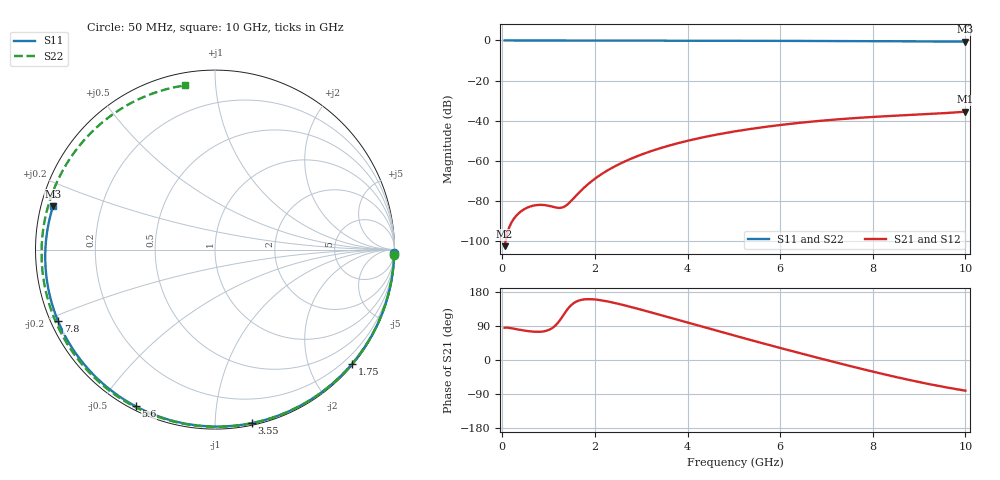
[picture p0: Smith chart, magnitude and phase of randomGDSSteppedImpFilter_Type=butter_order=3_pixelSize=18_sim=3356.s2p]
! freq	dB(S11)	phase(S11)	dB(S12)	phase(S12)
!  dB(S21)	phase(S21)	dB(S22)	phase(S22)
!S-par simulation data
#  GHz  S  DB  R 50
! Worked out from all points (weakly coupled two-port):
!   200 points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, 50 MHz to 10 GHz, reference 50 ohm
!   highest |S21| = -35.47 dB at 10 GHz (marker M1); lowest = -102.4 dB at 50 MHz (marker M2)
!   lowest |S11| = -0.6 dB at 10 GHz (marker M3), VSWR 29.29, Z = 1.74 + j6.61 ohm
!   |S11| at or under -10 dB: nowhere
!   |S22| runs from -0.6 to 0.0 dB; largest |S21 - S12| = 0
!   S11 on the Smith chart (normalised r, x): 50 MHz: open; 1.75 GHz: 0.02, -2.75; 3.55 GHz: 0.01, -1.24; 5.6 GHz: 0.01, -0.61; 7.8 GHz: 0.02, -0.22; 10 GHz: 0.03, +0.13
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0.05  -0.00 -1.1  -102.44 85.2  -102.44 85.2  -0.01 -1.6
0.35  -0.01 -8.1  -86.14 80.3  -86.14 80.3  -0.02 -11.6
0.7  -0.02 -16.2  -82.13 74.5  -82.13 74.5  -0.03 -23.1
1.05  -0.03 -24.2  -82.58 82.1  -82.58 82.1  -0.04 -34.5
1.45  -0.04 -33.2  -80.78 140.1  -80.78 140.1  -0.06 -47.1
1.5  -0.04 -34.3  -79.60 146.1  -79.60 146.1  -0.06 -48.7
1.75  -0.05 -39.9  -73.67 159.6  -73.67 159.6  -0.07 -56.4
2.05  -0.06 -46.5  -68.02 159.0  -68.02 159.0  -0.08 -65.4
2.45  -0.07 -55.1  -62.46 149.8  -62.46 149.8  -0.09 -77.0
2.9  -0.08 -64.6  -57.76 136.0  -57.76 136.0  -0.11 -89.6
3.4  -0.10 -74.9  -53.73 119.3  -53.73 119.3  -0.13 -102.9
3.55  -0.10 -77.9  -52.70 114.2  -52.70 114.2  -0.13 -106.8
4.3  -0.13 -92.7  -48.41 88.5  -48.41 88.5  -0.16 -125.5
5.05  -0.16 -106.8  -45.19 63.1  -45.19 63.1  -0.20 -143.3
5.6  -0.19 -116.8  -43.29 44.9  -43.29 44.9  -0.23 -155.9
6.15  -0.22 -126.7  -41.71 27.0  -41.71 27.0  -0.26 -168.3
6.7  -0.26 -136.3  -40.38 9.3  -40.38 9.3  -0.30 179.4
7.25  -0.30 -145.9  -39.28 -7.9  -39.28 -7.9  -0.34 167.0
7.8  -0.35 -155.5  -38.38 -24.7  -38.38 -24.7  -0.39 154.5
8.35  -0.40 -165.1  -37.64 -40.7  -37.64 -40.7  -0.43 141.6
9.25  -0.50 178.8  -36.58 -64.4  -36.58 -64.4  -0.53 119.6
10  -0.59 164.9  -35.47 -80.8  -35.47 -80.8  -0.63 100.3
